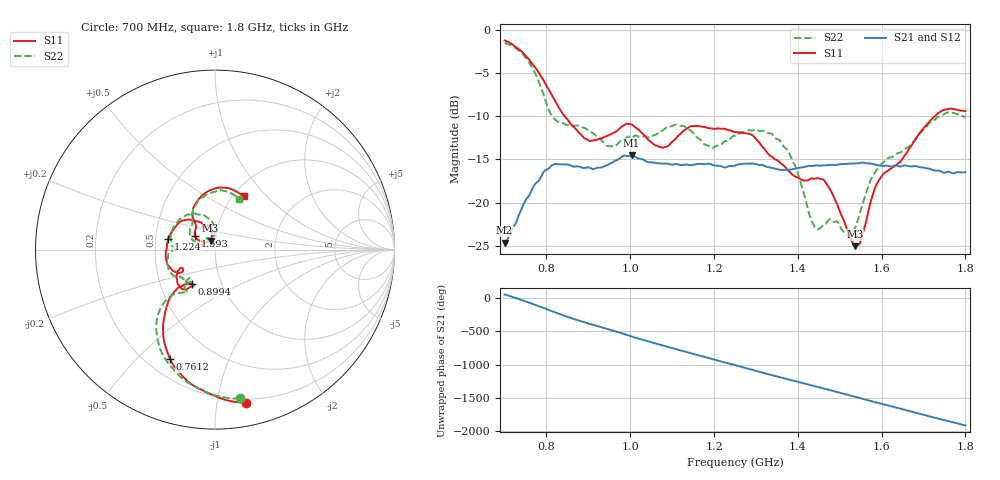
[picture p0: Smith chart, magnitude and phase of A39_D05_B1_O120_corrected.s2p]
! Created with skrf 1.9.0 (http://scikit-rf.org).
# Hz S RI R 50.0
!freq ReS11 ImS11 ReS21 ImS21 ReS12 ImS12 ReS22 ImS22
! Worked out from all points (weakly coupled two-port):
!   1601 points, 700 MHz to 1.8 GHz, reference 50 ohm
!   highest |S21| = -14.50 dB at 1.003 GHz (marker M1); lowest = -24.6 dB at 700 MHz (marker M2)
!   lowest |S11| = -25.0 dB at 1.536 GHz (marker M3), VSWR 1.12, Z = 47.3 + j4.76 ohm
!   |S11| at or under -10 dB: 843.4 MHz to 1.726 GHz (882.9 MHz wide, 68.7 % of centre)
!   |S22| runs from -24.0 to -1.5 dB; largest |S21 - S12| = 0.0035
!   S11 on the Smith chart (normalised r, x): 700 MHz: 0.17, -1.21; 761.2 MHz: 0.29, -0.63; 899.4 MHz: 0.72, -0.29; 1.224 GHz: 0.58, +0.07; 1.593 GHz: 0.79, +0.12; 1.8 GHz: 1.12, +0.75
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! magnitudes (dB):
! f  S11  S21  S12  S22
! 700 MHz  -1.2  -24.6  -24.4  -1.5
! 761.2 MHz  -3.6  -18.9  -18.8  -4.0
! 816.9 MHz  -7.9  -15.6  -15.7  -10.2
! 883.6 MHz  -12.2  -15.9  -15.8  -11.3
! 899.4 MHz  -12.8  -15.9  -15.9  -11.6
! 947.5 MHz  -12.2  -15.6  -15.6  -13.5
! 1.003 GHz  -10.9  -14.5  -14.6  -12.4
! 1.067 GHz  -13.5  -15.5  -15.4  -11.9
! 1.145 GHz  -11.1  -15.7  -15.7  -11.7
! 1.193 GHz  -11.4  -15.6  -15.5  -13.7
! 1.224 GHz  -11.4  -15.9  -15.9  -12.9
! 1.25 GHz  -11.8  -15.7  -15.6  -12.3
! 1.358 GHz  -15.4  -16.2  -16.2  -12.8
! 1.396 GHz  -17.0  -16.0  -16.0  -16.0
! 1.434 GHz  -17.2  -15.8  -15.7  -22.2
! 1.47 GHz  -17.9  -15.7  -15.7  -22.2
! 1.536 GHz  -25.0  -15.4  -15.5  -23.0
! 1.55 GHz  -24.4  -15.4  -15.4  -20.9
! 1.593 GHz  -17.5  -15.7  -15.7  -15.9
! 1.617 GHz  -16.2  -15.8  -15.7  -14.8
! 1.734 GHz  -9.7  -16.3  -16.3  -10.1
! 1.8 GHz  -9.4  -16.5  -16.5  -10.1
